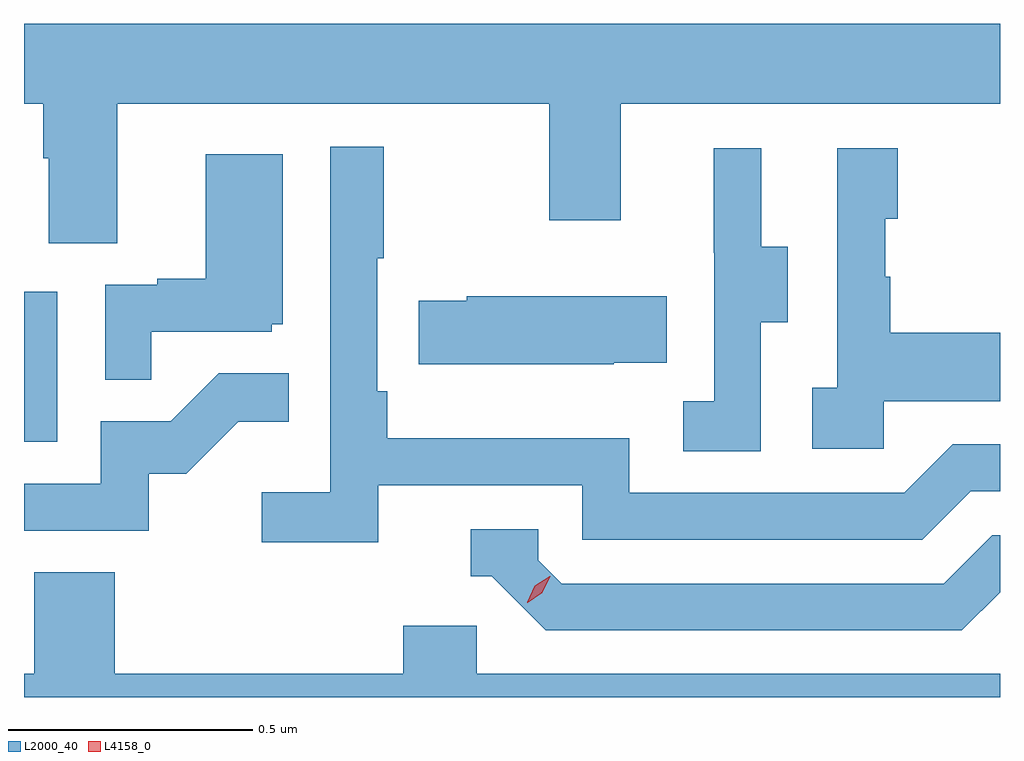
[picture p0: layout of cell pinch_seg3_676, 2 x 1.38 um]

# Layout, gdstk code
import gdstk
lib = gdstk.Library(unit=1e-6, precision=1e-09)
def R(c, l, rs):  # rectangles x0, y0, x1, y1
    for r in rs: c.add(gdstk.rectangle(r[:2], r[2:], *l))
def P(c, l, *ps):  # polygons
    for p in ps: c.add(gdstk.Polygon(p, *l))
L2000_40 = (2000, 40)
L4158_0 = (4158, 0)

pinch_seg3_676 = lib.new_cell('pinch_seg3_676')
R(pinch_seg3_676, L2000_40, [(1059.854,666.924,1059.922,667.231)])
P(pinch_seg3_676, L2000_40, [(1060.045,667.616),(1060.93,667.616),(1060.93,667.377),(1061.077,667.377),(1061.077,667.616),(1061.854,667.616),(1061.854,667.78),(1059.854,667.78),(1059.854,667.616),(1059.893,667.616),(1059.893,667.504),(1059.905,667.504),(1059.905,667.33),(1060.045,667.33)],
  [(1060.58,666.834),(1060.998,666.834),(1060.998,666.723),(1061.695,666.723),(1061.794,666.822),(1061.854,666.822),(1061.854,666.918),(1061.757,666.918),(1061.658,666.819),(1061.094,666.819),(1061.094,666.931),(1060.598,666.931),(1060.598,667.027),(1060.578,667.027),(1060.578,667.3),(1060.591,667.3),(1060.591,667.528),(1060.482,667.528),(1060.482,666.82),(1060.341,666.82),(1060.341,666.718),(1060.58,666.718)],
  [(1061.616,667.007),(1061.854,667.007),(1061.854,667.147),(1061.629,667.147),(1061.629,667.262),(1061.619,667.262),(1061.619,667.38),(1061.644,667.38),(1061.644,667.525),(1061.52,667.525),(1061.52,667.034),(1061.469,667.034),(1061.469,666.909),(1061.616,666.909)],
  [(1061.364,667.168),(1061.419,667.168),(1061.419,667.323),(1061.365,667.323),(1061.365,667.525),(1061.267,667.525),(1061.267,667.311),(1061.268,667.311),(1061.268,667.007),(1061.205,667.007),(1061.205,666.904),(1061.364,666.904)],
  [(1060.115,667.149),(1060.362,667.149),(1060.362,667.164),(1060.384,667.164),(1060.384,667.513),(1060.226,667.513),(1060.226,667.258),(1060.127,667.258),(1060.127,667.245),(1060.02,667.245),(1060.02,667.051),(1060.115,667.051)],
  [(1061.063,667.085),(1061.171,667.085),(1061.171,667.222),(1060.761,667.222),(1060.761,667.212),(1060.663,667.212),(1060.663,667.082),(1061.063,667.082)],
  [(1060.11,666.858),(1060.186,666.858),(1060.293,666.965),(1060.397,666.965),(1060.397,667.064),(1060.253,667.064),(1060.155,666.966),(1060.011,666.966),(1060.011,666.837),(1059.854,666.837),(1059.854,666.741),(1060.11,666.741)],
  [(1061.854,666.615),(1061.854,666.732),(1061.838,666.732),(1061.739,666.633),(1060.956,666.633),(1060.908,666.681),(1060.908,666.744),(1060.769,666.744),(1060.769,666.648),(1060.812,666.648),(1060.923,666.537),(1061.776,666.537)],
  [(1061.854,666.448),(1060.782,666.448),(1060.782,666.546),(1060.631,666.546),(1060.631,666.448),(1060.04,666.448),(1060.04,666.656),(1059.875,666.656),(1059.875,666.448),(1059.854,666.448),(1059.854,666.4),(1061.854,666.4)])
P(pinch_seg3_676, L4158_0, [(1060.885,666.594),(1060.885,666.595),(1060.901,666.628),(1060.931,666.648),(1060.932,666.648),(1060.932,666.647),(1060.916,666.614),(1060.886,666.594)])

lib.write_gds('pinch_seg3_676.gds')
